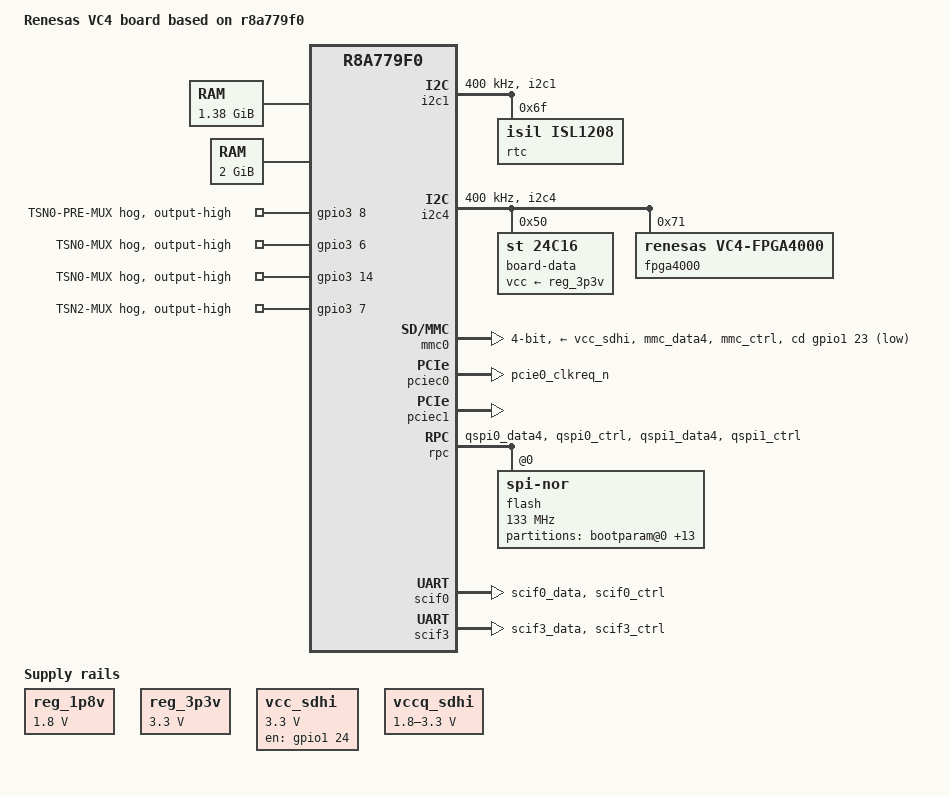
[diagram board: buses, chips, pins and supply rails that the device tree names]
// SPDX-License-Identifier: GPL-2.0
/*
 * Device Tree Source for the VC4 vehicle computer board
 *
 * Copyright (C) 2021-2023 Renesas Electronics Corp.
 */

/dts-v1/;

#include "r8a779f0.dtsi"
#include "r8a779f0-native.dtsi"
#include <dt-bindings/gpio/gpio.h>

/ {
	model = "Renesas VC4 board based on r8a779f0";
	compatible = "renesas,vc4", "renesas,r8a779f0";

	aliases {
		serial0 = &scif3;
		serial1 = &scif0;
		/* serial0 = &hscif0 */
		/* serial1 = &hscif1 */
	};

	chosen {
		stdout-path = "serial0:115200n8";
	};

	memory@48000000 {
		device_type = "memory";
		/* First 128MB is reserved for secure area. */
		/* Last 512MB is reserved for CR. */
		reg = <0x0 0x48000000 0x0 0x58000000>;
	};

	memory@480000000 {
		device_type = "memory";
		reg = <0x4 0x80000000 0x0 0x80000000>;
	};

	reg_1p8v: regulator-1p8v {
		compatible = "regulator-fixed";
		regulator-name = "fixed-1.8V";
		regulator-min-microvolt = <1800000>;
		regulator-max-microvolt = <1800000>;
		regulator-boot-on;
		regulator-always-on;
	};

	reg_3p3v: regulator-3p3v {
		compatible = "regulator-fixed";
		regulator-name = "fixed-3.3V";
		regulator-min-microvolt = <3300000>;
		regulator-max-microvolt = <3300000>;
		regulator-boot-on;
		regulator-always-on;
	};

	vcc_sdhi: regulator-vcc-sdhi {
		compatible = "regulator-fixed";

		regulator-name = "SDHI Vcc";
		regulator-min-microvolt = <3300000>;
		regulator-max-microvolt = <3300000>;

		gpio = <&gpio1 24 GPIO_ACTIVE_HIGH>;
		enable-active-high;
	};

	vccq_sdhi: regulator-vccq-sdhi {
		compatible = "regulator-gpio";

		regulator-name = "SDHI VccQ";
		regulator-min-microvolt = <1800000>;
		regulator-max-microvolt = <3300000>;

		gpio = <&gpio2 16 GPIO_ACTIVE_HIGH>;
		gpios-states = <1>;
		states = <3300000 1>, <1800000 0>;
	};
};

&extal_clk {
	clock-frequency = <20000000>;
};

&extalr_clk {
	clock-frequency = <32768>;
};

&gpio3 {
	tsn0-pre-mux {
		gpio-hog;
		gpios = <8 GPIO_ACTIVE_HIGH>;
		output-high;
		line-name = "TSN0-PRE-MUX";
	};

	tsn0_mux: tsn0-mux {
		gpio-hog;
		gpios = <6 GPIO_ACTIVE_HIGH>;
		/* For tsn0_phy_2g5 */
		/* output-low; */
		/* For tsn0_phy_1g */
		output-high;
		line-name = "TSN0-MUX";
	};

	tsn1_mux: tsn1-mux {
		gpio-hog;
		gpios = <14 GPIO_ACTIVE_HIGH>;
		/* For tsn1_phy_2g5 */
		/* output-low; */
		/* For tsn1_phy_1g */
		output-high;
		line-name = "TSN0-MUX";
	};

	tsn2-mux {
		gpio-hog;
		gpios = <7 GPIO_ACTIVE_HIGH>;
		/* For tsn2_phy_1g_rh */
		/* output-low; */
		/* For tsn2_phy_1g */
		output-high;
		line-name = "TSN2-MUX";
	};
};

&i2c1 {
	status = "okay";

	pinctrl-0 = <&i2c1_pins>;
	pinctrl-names = "default";

	clock-frequency = <400000>;

	rtc@6f {
		compatible = "isil,isl1208";
		reg = <0x6f>;
	};
};

&i2c4 {
	status = "okay";

	pinctrl-0 = <&i2c4_pins>;
	pinctrl-names = "default";

	clock-frequency = <400000>;

	eeprom@50 {
		compatible = "st,24c16", "atmel,24c16";
		reg = <0x50>;

		vcc-supply = <&reg_3p3v>;

		label = "board-data";
		pagesize = <8>;
	};

	fpga4000@71 {
		compatible = "renesas,vc4-fpga4000";
		reg = <0x71>;
	};
};

&hscif0 {
	/* Please use exclusively to the scif3 node */
	status = "disabled";

	pinctrl-0 = <&hscif0_pins>;
	pinctrl-names = "default";

	uart-has-rtscts;
};

&hscif1 {
	/* Please use exclusively to the scif0 node */
	status = "disabled";

	pinctrl-0 = <&hscif1_pins>;
	pinctrl-names = "default";

	uart-has-rtscts;
};

&mmc0 {
	status = "okay";

	pinctrl-0 = <&sd_pins>;
	pinctrl-1 = <&sd_pins>;
	pinctrl-names = "default", "state_uhs";

	vmmc-supply = <&vcc_sdhi>;
	vqmmc-supply = <&vccq_sdhi>;
	cd-gpios = <&gpio1 23 GPIO_ACTIVE_LOW>;
	bus-width = <4>;
};

&pfc {
	i2c1_pins: i2c1 {
		groups = "i2c1";
		function = "i2c1";
	};

	i2c4_pins: i2c4 {
		groups = "i2c4";
		function = "i2c4";
	};

	hscif0_pins: hscif0 {
		groups = "hscif0_data", "hscif0_ctrl";
		function = "hscif0";
	};

	hscif1_pins: hscif1 {
		groups = "hscif1_data", "hscif1_ctrl";
		function = "hscif1";
	};

	pcie0_pins: pcie0 {
		groups = "pcie0_clkreq_n";
		function = "pcie";
	};

	rpc_pins: rpc {
		qspi0 {
			groups = "qspi0_data4", "qspi0_ctrl";
			function = "qspi0";
		};
		qspi1 {
			groups = "qspi1_data4", "qspi1_ctrl";
			function = "qspi1";
		};
	};

	scif0_pins: scif0 {
		groups = "scif0_data", "scif0_ctrl";
		function = "scif0";
	};

	scif3_pins: scif3 {
		groups = "scif3_data", "scif3_ctrl";
		function = "scif3";
	};

	scif_clk_pins: scif_clk {
		groups = "scif_clk";
		function = "scif_clk";
	};

	sd_pins: sd {
		groups = "mmc_data4", "mmc_ctrl";
		function = "mmc";
		power-source = <3300>;
	};
};

&pciec0 {
	status = "okay";

	pinctrl-0 = <&pcie0_pins>;
	pinctrl-names = "default";
};

&pciec1 {
	status = "okay";
};

&pcie_bus_clk {
	clock-frequency = <100000000>;
};

&rpc {
	status = "okay";

	pinctrl-0 = <&rpc_pins>;
	pinctrl-names = "default";

	flash@0 {
		compatible = "jedec,spi-nor";
		reg = <0>;
		spi-max-frequency = <133000000>;
		spi-rx-bus-width = <4>;

		partitions {
			compatible = "fixed-partitions";
			#address-cells = <1>;
			#size-cells = <1>;

			bootparam@0 {
				reg = <0x00000000 0x00040000>;
				read-only;
			};
			icumxa_loader@40000 {
				reg = <0x00040000 0x00200000>;
				read-only;
			};
			cert_header@240000 {
				reg = <0x00240000 0x00040000>;
				read-only;
			};
			secure_fw@280000 {
				reg = <0x00280000 0x00100000>;
				read-only;
			};
			icumh_payload@280000 {
				reg = <0x00380000 0x00100000>;
				read-only;
			};
			secure_monitor@480000 {
				reg = <0x00480000 0x00080000>;
				read-only;
			};
			rtos@500000 {
				reg = <0x00500000 0x00400000>;
				read-only;
			};
			g4mh_payload@900000 {
				reg = <0x00900000 0x00100000>;
				read-only;
			};
			space1@a00000 {
				reg = <0x00a00000 0x00300000>;
			};
			uboot-env@d00000 {
				reg = <0x00d00000 0x00040000>;
			};
			space2@d40000 {
				reg = <0x00d40000 0x000c0000>;
			};
			uboot@e00000 {
				reg = <0x00e00000 0x00200000>;
				read-only;
			};
			tee@1000000 {
				reg = <0x01000000 0x00100000>;
				read-only;
			};
			space3@1100000 {
				reg = <0x01100000 0x02f00000>;
			};
		};
	};
};

&rwdt {
	status = "disabled";

	timeout-sec = <60>;
};

&scif0 {
	/* Please use exclusively to the hscif1 node */
	status = "okay";

	pinctrl-0 = <&scif0_pins>;
	pinctrl-names = "default";

	uart-has-rtscts;
};

&scif3 {
	/* Please use exclusively to the hscif0 node */
	status = "okay";

	pinctrl-0 = <&scif3_pins>;
	pinctrl-names = "default";

	uart-has-rtscts;
};

&scif_clk {
	pinctrl-0 = <&scif_clk_pins>;
	pinctrl-names = "default";

	clock-frequency = <24000000>;
};
